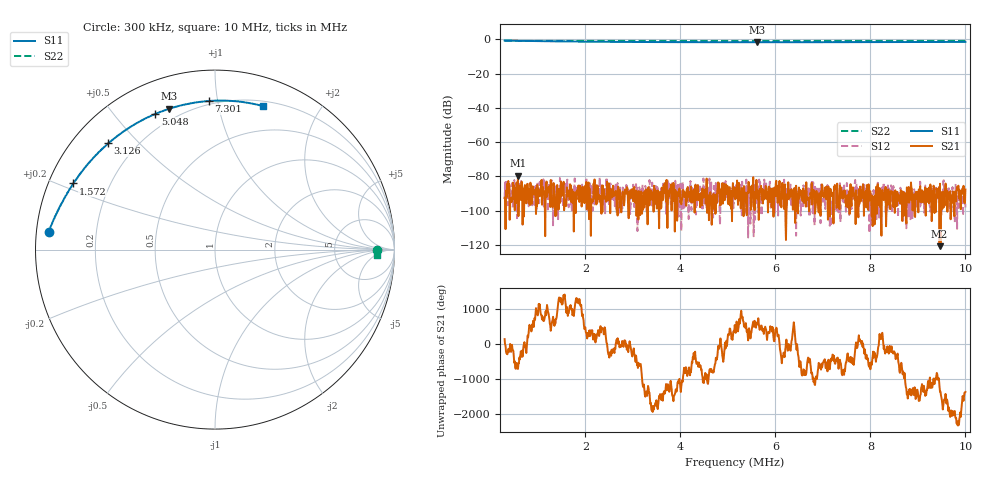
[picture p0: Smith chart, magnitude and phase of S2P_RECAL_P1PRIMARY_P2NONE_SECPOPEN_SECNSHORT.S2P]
!Keysight Technologies,E5061B,MY49709559,B.05.06
!Date: Fri Apr 08 00:55:30 2022
!Data & Calibration Information:
!Freq	S11:SOLT2(ON)	S21:SOLT2(ON)	S12:SOLT2(ON)	S22:SOLT2(ON)
# Hz S RI R 50
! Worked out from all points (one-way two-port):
!   1000 points, 300 kHz to 10 MHz, reference 50 ohm
!   highest |S21| = -79.51 dB at 581.6 kHz (marker M1); lowest = -120.8 dB at 9.456 MHz (marker M2)
!   lowest |S11| = -1.7 dB at 5.621 MHz (marker M3), VSWR 10.42, Z = 7.29 + j35.8 ohm
!   |S11| at or under -10 dB: nowhere
!   |S22| runs from -0.9 to -0.9 dB; largest |S21 - S12| = 0.00016
!   S11 on the Smith chart (normalised r, x): 300 kHz: 0.04, +0.05; 1.572 MHz: 0.07, +0.22; 3.126 MHz: 0.10, +0.41; 5.048 MHz: 0.14, +0.64; 7.301 MHz: 0.18, +0.94; 10 MHz: 0.25, +1.36
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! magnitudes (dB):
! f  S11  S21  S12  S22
! 300 kHz  -0.6  -92.6  -93.3  -0.9
! 523.3 kHz  -0.8  -86.9  -88.2  -0.9
! 533 kHz  -0.8  -95.8  -83.6  -0.9
! 581.6 kHz  -0.8  -79.5  -96.0  -0.9
! 630.1 kHz  -0.8  -89.6  -88.4  -0.9
! 639.8 kHz  -0.8  -93.7  -89.7  -0.9
! 843.7 kHz  -0.9  -83.7  -92.9  -0.9
! 1.203 MHz  -1.1  -87.1  -97.9  -0.9
! 1.572 MHz  -1.2  -94.7  -83.7  -0.9
! 1.922 MHz  -1.3  -97.6  -93.9  -0.9
! 2.65 MHz  -1.5  -89.4  -90.4  -0.9
! 3.126 MHz  -1.5  -88.6  -93.5  -0.9
! 3.543 MHz  -1.6  -98.3  -97.0  -0.9
! 4.213 MHz  -1.6  -94.8  -82.7  -0.9
! 5.048 MHz  -1.7  -97.0  -93.5  -0.9
! 5.155 MHz  -1.7  -93.4  -89.6  -0.9
! 5.621 MHz  -1.7  -93.4  -85.0  -0.9
! 6.767 MHz  -1.7  -83.8  -83.2  -0.9
! 7.301 MHz  -1.6  -84.2  -89.2  -0.9
! 8.388 MHz  -1.6  -92.6  -86.9  -0.9
! 9.456 MHz  -1.5  -120.8  -95.5  -0.9
! 10 MHz  -1.5  -87.7  -98.1  -0.9
